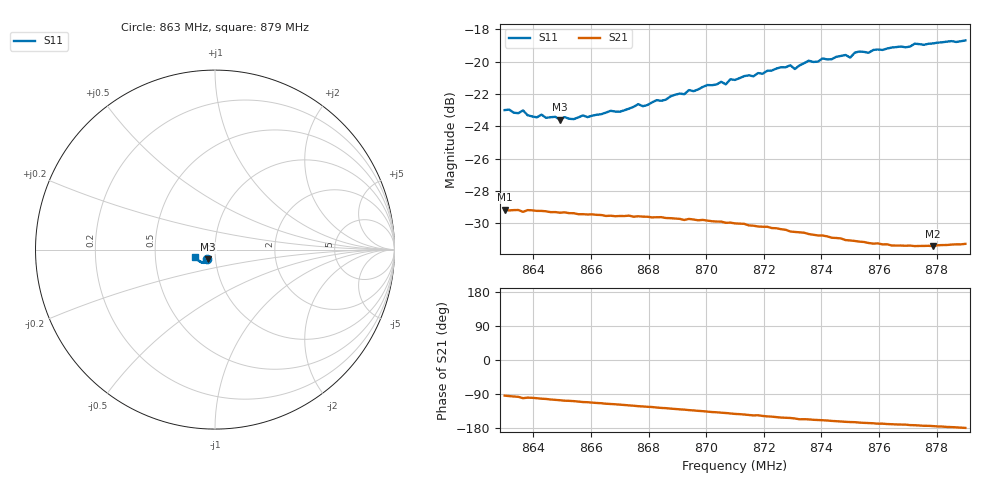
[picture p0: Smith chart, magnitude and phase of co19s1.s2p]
# HZ S RI R 50
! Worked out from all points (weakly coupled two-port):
!   101 points, 863 MHz to 879 MHz, reference 50 ohm
!   highest |S21| = -29.16 dB at 863 MHz (marker M1); lowest = -31.4 dB at 877.88 MHz (marker M2)
!   lowest |S11| = -23.6 dB at 864.92 MHz (marker M3), VSWR 1.14, Z = 46.1 - j5.01 ohm
!   |S11| at or under -10 dB: start of sweep to end of sweep
!   S12 and S22 are empty: the file has one direction only
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8.63e8  -0.045 -0.0547  -0.00241 -0.0347  0 0  0 0
8.6348e8  -0.0427 -0.0545  -0.00442 -0.0345  0 0  0 0
8.6364e8  -0.0447 -0.0547  -0.00644 -0.0337  0 0  0 0
8.6396e8  -0.0406 -0.0541  -0.00591 -0.0342  0 0  0 0
8.6428e8  -0.0396 -0.0559  -0.00724 -0.0338  0 0  0 0
8.6492e8  -0.0379 -0.0541  -0.00948 -0.0327  0 0  0 0
8.6572e8  -0.0361 -0.0578  -0.0121 -0.0315  0 0  0 0
8.67e8  -0.0352 -0.0605  -0.0155 -0.0294  0 0  0 0
8.6764e8  -0.0369 -0.0639  -0.0175 -0.0282  0 0  0 0
8.678e8  -0.0358 -0.0634  -0.0178 -0.0279  0 0  0 0
8.6844e8  -0.0375 -0.0657  -0.0196 -0.0266  0 0  0 0
8.694e8  -0.0418 -0.0701  -0.0219 -0.0241  0 0  0 0
8.71e8  -0.049 -0.0728  -0.025 -0.0193  0 0  0 0
8.7292e8  -0.0632 -0.0741  -0.0266 -0.0135  0 0  0 0
8.7308e8  -0.0614 -0.0723  -0.0268 -0.0129  0 0  0 0
8.7356e8  -0.0689 -0.0733  -0.0269 -0.0116  0 0  0 0
8.7372e8  -0.0674 -0.0734  -0.027 -0.011  0 0  0 0
8.75e8  -0.0772 -0.068  -0.0269 -0.00783  0 0  0 0
8.7532e8  -0.0844 -0.0665  -0.0268 -0.00709  0 0  0 0
8.7644e8  -0.0922 -0.0609  -0.0265 -0.00493  0 0  0 0
8.7788e8  -0.103 -0.0484  -0.0267 -0.0026  0 0  0 0
8.79e8  -0.1095 -0.0388  -0.0273 -0.000378  0 0  0 0
